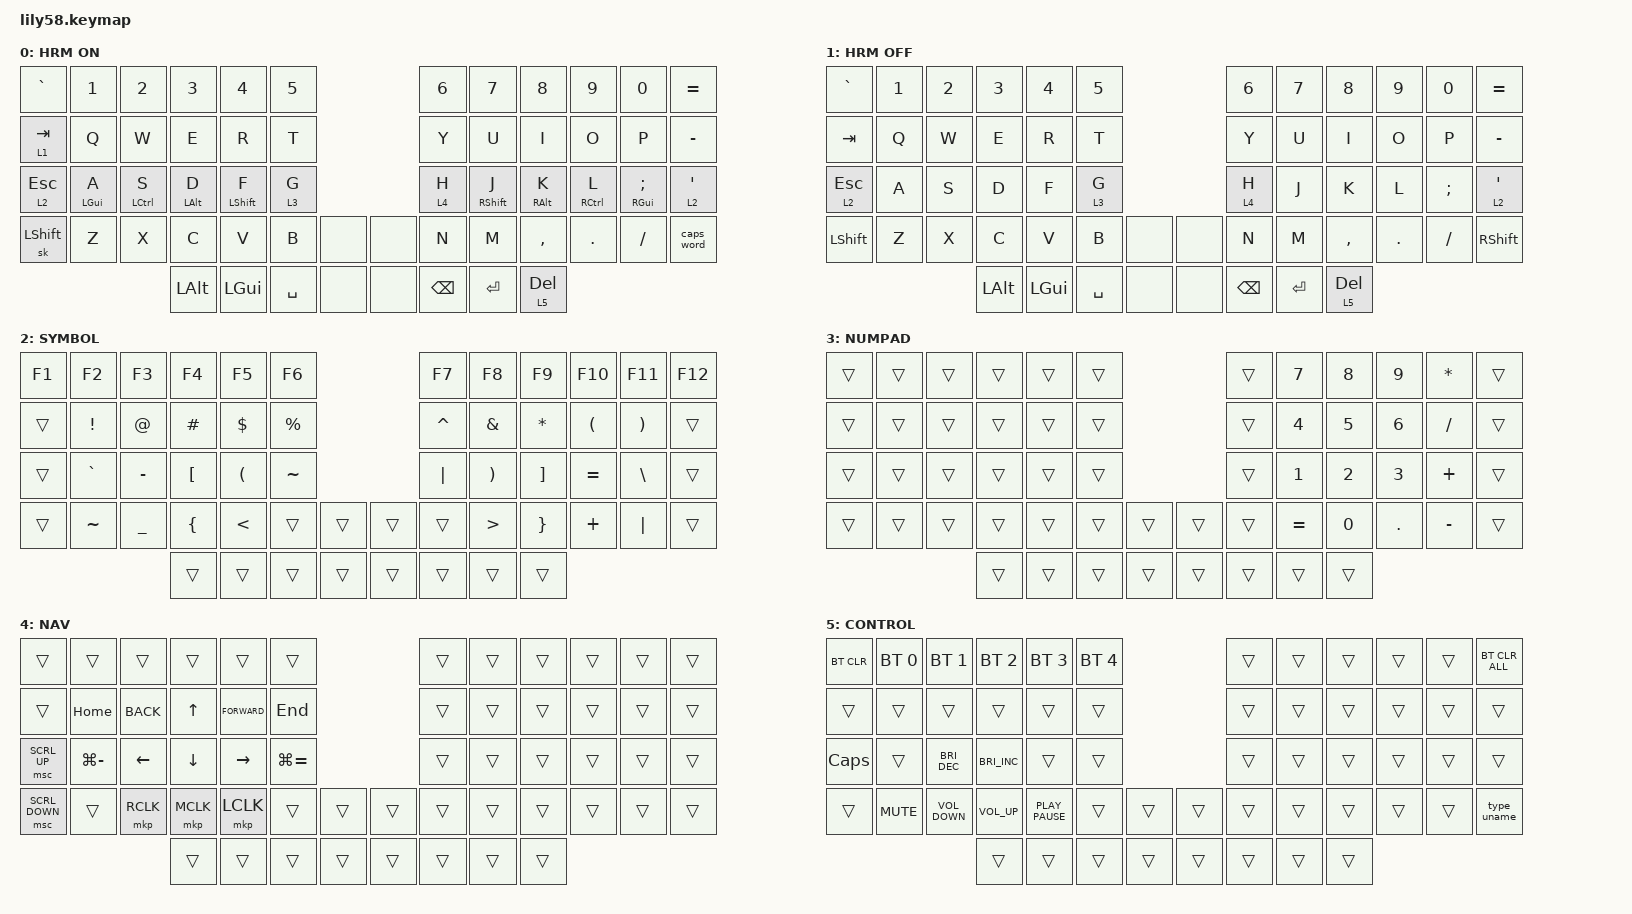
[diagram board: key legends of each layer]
/*
 * Copyright (c) 2020 The ZMK Contributors
 *
 * SPDX-License-Identifier: MIT
 */

#include <behaviors.dtsi>
#include <dt-bindings/zmk/bt.h>
#include <dt-bindings/zmk/keys.h>
#include <dt-bindings/zmk/pointing.h>

&mt {
    tapping-term-ms = <200>;
    flavor = "tap-preferred";
    require-prior-idle-ms = <150>;
};

/ {
    combos {
        compatible = "zmk,combos";

        HRM_OFF {
            bindings = <&to 1>;
            key-positions = <28 31>;
            layers = <0>;
        };

        HRM_ON {
            bindings = <&to 0>;
            key-positions = <28 31>;
            layers = <1>;
        };
    };

    behaviors {
        hold_tap_mo_to: hold_tap_mo_to {
            compatible = "zmk,behavior-hold-tap";
            label = "HOLD_TAP_MO_TO";
            bindings = <&mo>, <&to>;

            #binding-cells = <2>;
            tapping-term-ms = <150>;
        };

        hold_tap_mo_kp: hold_tap_mo_kp {
            compatible = "zmk,behavior-hold-tap";
            label = "HOLD_TAP_MO_KP";
            bindings = <&mo>, <&kp>;

            #binding-cells = <2>;
            tapping-term-ms = <200>;
            flavor = "tap-preferred";
        };

        hold_tap_mo_tog: hold_tap_mo_tog {
            compatible = "zmk,behavior-hold-tap";
            label = "HOLD_TAP_MO_TOG";
            bindings = <&mo>, <&tog>;

            #binding-cells = <2>;
            tapping-term-ms = <150>;
        };
    };

    macros {
        type_uname: type_uname {
            compatible = "zmk,behavior-macro";
            #binding-cells = <0>;
            bindings = <&kp O &kp T &kp I &kp S &kp MINUS &kp D &kp E &kp L &kp A &kp R &kp G &kp E>;
            label = "TYPE_UNAME";
        };
    };

    keymap {
        compatible = "zmk,keymap";

        base {
            // ---------------------------------------------------------------------------------------------------
            // |    `    |   1   |   2   |   3   |   4   |   5   |   |   6   |   7   |   8   |   9   |   0   |    =    |
            // | TAB/HRM |   Q   |   W   |   E   |   R   |   T   |   |   Y   |   U   |   I   |   O   |   P   |    -    |
            // | ESC/SYM | A/GUI | S/CTL | D/ALT | F/SFT | G/NUM |   | H/NAV | J/SFT | K/ALT | L/CTL | ;/GUI |  '/SYM  |
            // | 1-SHIFT |   Z   |   X   |   C   |   V   |   B   |   |   N   |   M   |   ,   |   .   |   /   | CAPSWRD |
            //                           |  ALT  |  GUI  | SPACE |   | BSPC  | ENTER |DEL/CTL|
            //
            // X/Y = tap X, hold Y.  HRM = HRM off layer, SYM = symbols, NUM = numpad, CTL on thumb = control layer.
            // 1-SHIFT = one-shot shift (tap: next letter only, hold: normal shift).  CAPSWRD = caps word.
            // F + J together toggles home row mods off/on.

            display-name = "HRM ON";
            bindings = <
&kp GRAVE              &kp N1          &kp N2       &kp N3          &kp N4            &kp N5                               &kp N6               &kp N7             &kp N8                      &kp N9       &kp N0                   &kp EQUAL
&hold_tap_mo_kp 1 TAB  &kp Q           &kp W        &kp E           &kp R             &kp T                                &kp Y                &kp U              &kp I                       &kp O        &kp P                    &kp MINUS
&hold_tap_mo_kp 2 ESC  &mt LEFT_GUI A  &mt LCTRL S  &mt LEFT_ALT D  &mt LEFT_SHIFT F  &hold_tap_mo_kp 3 G                  &hold_tap_mo_kp 4 H  &mt RIGHT_SHIFT J  &mt RIGHT_ALT K             &mt RCTRL L  &mt RIGHT_GUI SEMICOLON  &hold_tap_mo_kp 2 SQT
&sk LSHIFT             &kp Z           &kp X        &kp C           &kp V             &kp B                &none    &none  &kp N                &kp M              &kp COMMA                   &kp DOT      &kp FSLH                 &caps_word
                                                    &kp LALT        &kp LGUI          &kp SPACE            &none    &none  &kp BACKSPACE        &kp ENTER          &hold_tap_mo_kp 5 DELETE
            >;
        };

        hrm_off {
            display-name = "HRM OFF";
            bindings = <
&kp GRAVE              &kp N1  &kp N2  &kp N3    &kp N4    &kp N5                               &kp N6               &kp N7     &kp N8                      &kp N9   &kp N0    &kp EQUAL
&kp TAB                &kp Q   &kp W   &kp E     &kp R     &kp T                                &kp Y                &kp U      &kp I                       &kp O    &kp P     &kp MINUS
&hold_tap_mo_kp 2 ESC  &kp A   &kp S   &kp D     &kp F     &hold_tap_mo_kp 3 G                  &hold_tap_mo_kp 4 H  &kp J      &kp K                       &kp L    &kp SEMI  &hold_tap_mo_kp 2 SQT
&kp LSHFT              &kp Z   &kp X   &kp C     &kp V     &kp B                &none    &none  &kp N                &kp M      &kp COMMA                   &kp DOT  &kp FSLH  &kp RSHFT
                                       &kp LALT  &kp LGUI  &kp SPACE            &none    &none  &kp BACKSPACE        &kp ENTER  &hold_tap_mo_kp 5 DELETE
            >;
        };

        symbols {
            bindings = <
&kp F1  &kp F2           &kp F3       &kp F4            &kp F5                &kp F6                         &kp F7     &kp F8                 &kp F9             &kp F10               &kp F11                &kp F12
&trans  &kp EXCLAMATION  &kp AT_SIGN  &kp HASH          &kp DOLLAR            &kp PERCENT                    &kp CARET  &kp AMPERSAND          &kp ASTRK          &kp LEFT_PARENTHESIS  &kp RIGHT_PARENTHESIS  &trans
&trans  &kp GRAVE        &kp MINUS    &kp LEFT_BRACKET  &kp LEFT_PARENTHESIS  &kp TILDE                      &kp PIPE   &kp RIGHT_PARENTHESIS  &kp RIGHT_BRACKET  &kp EQUAL             &kp BACKSLASH          &trans
&trans  &kp TILDE        &kp UNDER    &kp LEFT_BRACE    &kp LESS_THAN         &trans       &trans    &trans  &trans     &kp GREATER_THAN       &kp RIGHT_BRACE    &kp PLUS              &kp PIPE               &trans
                                      &trans            &trans                &trans       &trans    &trans  &trans     &trans                 &trans
            >;

            label = "SYMBOL";
        };

        numpad {
            display-name = "NUMPAD";
            bindings = <
&trans  &trans  &trans  &trans  &trans  &trans                    &trans  &kp N7     &kp N8        &kp N9      &kp ASTERISK  &trans
&trans  &trans  &trans  &trans  &trans  &trans                    &trans  &kp N4     &kp N5        &kp N6      &kp SLASH     &trans
&trans  &trans  &trans  &trans  &trans  &trans                    &trans  &kp N1     &kp N2        &kp N3      &kp PLUS      &trans
&trans  &trans  &trans  &trans  &trans  &trans  &trans    &trans  &trans  &kp EQUAL  &kp NUMBER_0  &kp PERIOD  &kp MINUS     &trans
                        &trans  &trans  &trans  &trans    &trans  &trans  &trans     &trans
            >;
        };

        nav {
            bindings = <
&trans          &trans         &trans      &trans     &trans         &trans                           &trans  &trans  &trans  &trans  &trans  &trans
&trans          &kp HOME       &kp K_BACK  &kp UP     &kp K_FORWARD  &kp END                          &trans  &trans  &trans  &trans  &trans  &trans
&msc SCRL_UP    &kp LG(MINUS)  &kp LEFT    &kp DOWN   &kp RIGHT      &kp LG(EQUAL)                    &trans  &trans  &trans  &trans  &trans  &trans
&msc SCRL_DOWN  &trans         &mkp RCLK   &mkp MCLK  &mkp LCLK      &trans         &trans    &trans  &trans  &trans  &trans  &trans  &trans  &trans
                                           &trans     &trans         &trans         &trans    &trans  &trans  &trans  &trans
            >;

            label = "NAV";
        };

        control {
            // ---------------------------------------------------------------------------------------------------
            // | BT CLR  |  BT0  |  BT1  |  BT2  |  BT3  |  BT4  |   |       |       |       |       |       | BT CLR ALL |
            // |         |       |       |       |       |       |   |       |       |       |       |       |            |
            // |  CAPS   |       | BRI - | BRI + |       |       |   |       |       |       |       |       |            |
            // |         | MUTE  | VOL - | VOL + | PLAY  |       |   |       |       |       |       |       |  USERNAME  |
            //                           |       |       |       |   |       |       | held  |
            // Hold the DEL thumb key (works on base and HRM off).

            display-name = "CONTROL";
            bindings = <
&bt BT_CLR  &bt BT_SEL 0  &bt BT_SEL 1          &bt BT_SEL 2          &bt BT_SEL 3      &bt BT_SEL 4                    &trans  &trans  &trans  &trans  &trans  &bt BT_CLR_ALL
&trans      &trans        &trans                &trans                &trans            &trans                          &trans  &trans  &trans  &trans  &trans  &trans
&kp CAPSLOCK  &trans  &kp C_BRIGHTNESS_DEC  &kp C_BRIGHTNESS_INC  &trans            &trans                          &trans  &trans  &trans  &trans  &trans  &trans
&trans      &kp K_MUTE    &kp K_VOLUME_DOWN     &kp K_VOLUME_UP       &kp K_PLAY_PAUSE  &trans        &trans    &trans  &trans  &trans  &trans  &trans  &trans  &type_uname
                                                &trans                &trans            &trans        &trans    &trans  &trans  &trans  &trans
            >;
        };
    };
};
